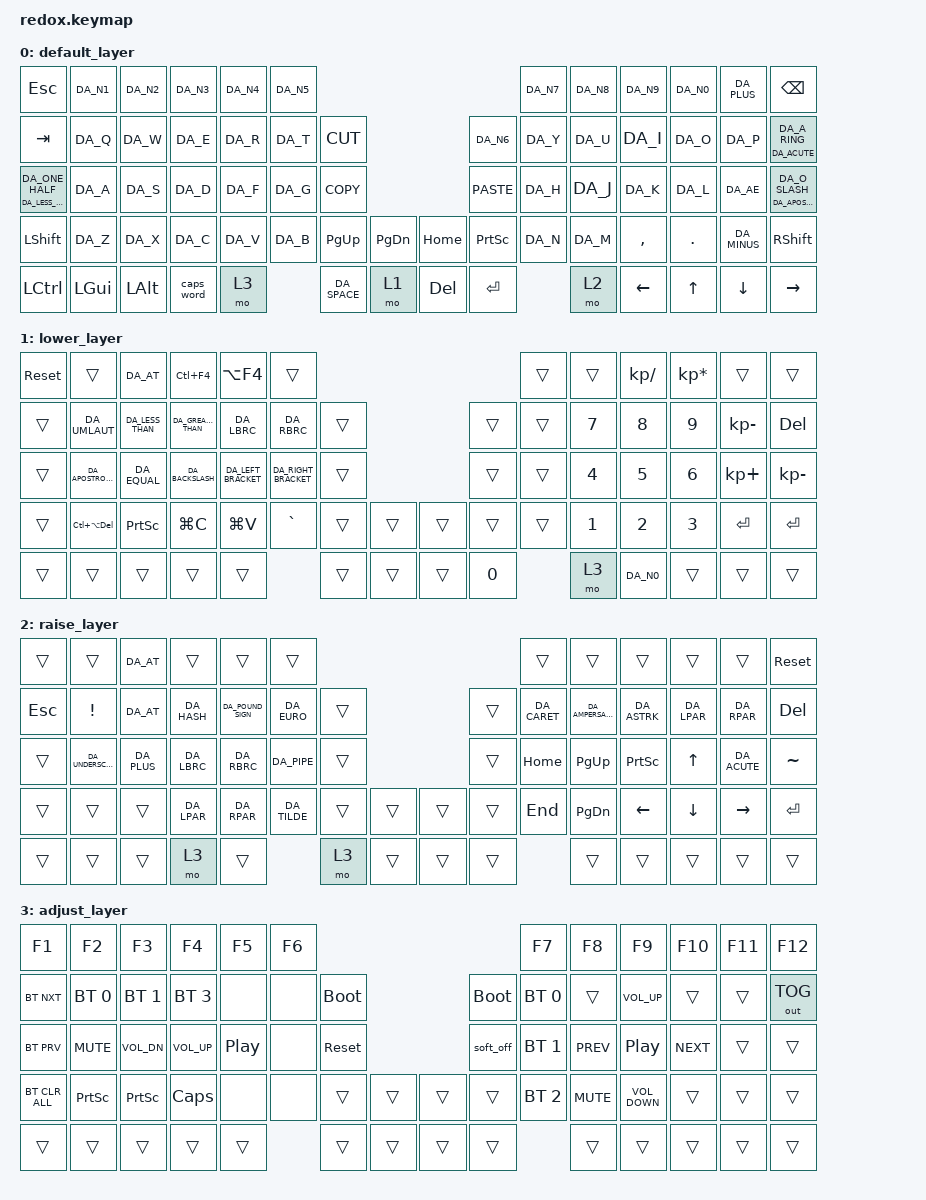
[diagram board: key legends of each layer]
/*
 * Copyright (c) 2021 The ZMK Contributors
 *
 * SPDX-License-Identifier: MIT
 */

#include "keys_da.h"
#include <behaviors.dtsi>
#include <dt-bindings/zmk/bt.h>
#include <dt-bindings/zmk/keys.h>
#include <dt-bindings/zmk/outputs.h>

&mt {
    flavor = "tap-preferred";
    tapping-term-ms = <300>;
};

&soft_off { hold-time-ms = <1000>; };

/ {
    keymap {
        compatible = "zmk,keymap";

        default_layer {
            // --------------------------------------------------------------------------------------------------------------------------------
            // | ESC   |  1  |  2  |   3   |  4  |  5  |                   ---                |  6    |  7    |  8    |  9   | 0  |    BKSP   |
            // | TAB   |  DA_Q  |  DA_W  |   DA_E   |  DA_R  |  DA_T  |   (   |           ---        |  )    |  DA_Y    |  DA_U    |  DA_I    |  DA_O   | DA_P  |     -     |
            // | CTRL  |  DA_A  |  DA_S  |   DA_D   |  DA_F  |  DA_G  |   [   |           ---        |  ]    |  DA_H    |  DA_J    |  DA_K    |  DA_L   | ;  |     '     |
            // | SHIFT |  DA_Z  |  DA_X  |   DA_C   |  DA_V  |  DA_B  | PG_UP | PG_DOWN | --- | HOME | END   |  DA_N    |  DA_M    |  ,    |  .   | /  | SHFT(RET) |
            // | CRTL  | ALT | GUI | LOWER |    GUI    | LOWER | DA_SPACE   | --- | DEL  | DA_SPACE |     RAISE     | LEFT  | DOWN | UP |   RIGHT   |

            bindings = <
&kp ESC                       &kp DA_N1     &kp DA_N2  &kp DA_N3   &kp DA_N4  &kp DA_N5                                                        &kp DA_N7  &kp DA_N8  &kp DA_N9  &kp DA_N0     &kp DA_PLUS     &kp BSPC
&kp TAB                       &kp DA_Q      &kp DA_W   &kp DA_E    &kp DA_R   &kp DA_T   &kp K_CUT                            &kp DA_N6        &kp DA_Y   &kp DA_U   &kp DA_I   &kp DA_O      &kp DA_P        &mt DA_ACUTE DA_A_RING
&mt DA_LESS_THAN DA_ONE_HALF  &kp DA_A      &kp DA_S   &kp DA_D    &kp DA_F   &kp DA_G   &kp K_COPY                           &kp K_PASTE      &kp DA_H   &kp DA_J   &kp DA_K   &kp DA_L      &kp DA_AE       &mt DA_APOSTROPHE DA_O_SLASH
&kp LSHFT                     &kp DA_Z      &kp DA_X   &kp DA_C    &kp DA_V   &kp DA_B   &kp PG_UP     &kp PG_DN    &kp HOME  &kp PRINTSCREEN  &kp DA_N   &kp DA_M   &kp COMMA  &kp DOT       &kp DA_MINUS    &kp RSHFT
&kp LCTRL                     &kp LEFT_GUI  &kp LALT   &caps_word  &mo 3                 &kp DA_SPACE  &mo 1        &kp DEL   &kp ENTER                   &mo 2      &kp LEFT   &kp UP_ARROW  &kp DOWN_ARROW  &kp RIGHT
            >;
        };

        lower_layer {
            // --------------------------------------------------------------------------------------------------------------------------
            // | ESC   |  1  |  2  |   3   |   4   |  5  |                   ---              |  6  |  7  |   8  |  9   |  0  |  DEL  |
            // | ESC   |  1  |  2  |   3   |   4   |  5  |   (   |           ---        |  )  |  6  |  7  |   8  |  9   |  0  |  DEL  |
            // | CTRL  |  -  |  =  |   [   |   ]   |  \  |   [   |           ---        |  ]  |  *  |  4  |   5  |  6   |  +  |   -   |
            // | SHIFT | ESC | GUI | COPY  | PASTE |     | PG_UP | PG_DOWN | --- | HOME | END |  \  |  1  |   2  |  3   | RET |  RET  |
            // | CRTL  | ALT | GUI | LOWER |     GUI     | LOWER | DA_SPACE   | --- | DEL  |  0  |    RAISE  | LEFT | DOWN | UP  | RIGHT |

            bindings = <
&sys_reset  &trans              &kp DA_AT         &kp LC(F4)           &kp LA(F4)           &trans                                                  &trans  &trans  &kp KP_SLASH  &kp KP_MULTIPLY  &trans           &trans
&trans      &kp DA_UMLAUT       &kp DA_LESS_THAN  &kp DA_GREATER_THAN  &kp DA_LBRC          &kp DA_RBRC           &trans                    &trans  &trans  &kp N7  &kp N8        &kp N9           &kp KP_SUBTRACT  &kp DEL
&trans      &kp DA_APOSTROPHE   &kp DA_EQUAL      &kp DA_BACKSLASH     &kp DA_LEFT_BRACKET  &kp DA_RIGHT_BRACKET  &trans                    &trans  &trans  &kp N4  &kp N5        &kp N6           &kp KP_PLUS      &kp KP_MINUS
&trans      &kp LC(LA(DELETE))  &kp PRINTSCREEN   &kp LG(C)            &kp LG(V)            &kp GRAVE             &trans  &trans    &trans  &trans  &trans  &kp N1  &kp N2        &kp N3           &kp RET          &kp RET
&trans      &trans              &trans            &trans               &trans                                     &trans  &trans    &trans  &kp N0          &mo 3   &kp DA_N0     &trans           &trans           &trans
            >;
        };

        raise_layer {
            // ----------------------------------------------------------------------------------------------------------------------------
            // | ESC   |  1  |  2  |   3   |  4  |  5  |                   ---                |  6   |  7   |  8   |  9   |  0    |  DEL  |
            // | ESC   |  !  |  @  |   #   |  $  |  %  |   (   |           ---        |  )    |  ^   |  &   |  *   |  (   |  )    |  DEL  |
            // | CTRL  |  _  |  +  |   {   |  }  | "|" |   [   |           ---        |  ]    | HOME | PGUP | PRSC | UP   |  `    |   ~   |
            // | SHIFT | ESC | GUI |   (   |  )  |     | PG_UP | PG_DOWN | --- | HOME | END   | END  | PGDN | LEFT | DOWN | RIGHT |  RET  |
            // | CRTL  | ALT | GUI | LOWER |    GUI    | LOWER | DA_SPACE   | --- | DEL  | DA_SPACE |    RAISE    | LEFT | DOWN | UP    | RIGHT |

            bindings = <
&trans   &trans             &kp DA_AT    &trans       &trans             &trans                                          &trans        &trans            &trans        &trans       &trans        &sys_reset
&kp ESC  &kp EXCL           &kp DA_AT    &kp DA_HASH  &kp DA_POUND_SIGN  &kp DA_EURO   &trans                    &trans  &kp DA_CARET  &kp DA_AMPERSAND  &kp DA_ASTRK  &kp DA_LPAR  &kp DA_RPAR   &kp DEL
&trans   &kp DA_UNDERSCORE  &kp DA_PLUS  &kp DA_LBRC  &kp DA_RBRC        &kp DA_PIPE   &trans                    &trans  &kp HOME      &kp PG_UP         &kp PSCRN     &kp UP       &kp DA_ACUTE  &kp TILDE
&trans   &trans             &trans       &kp DA_LPAR  &kp DA_RPAR        &kp DA_TILDE  &trans  &trans    &trans  &trans  &kp END       &kp PG_DN         &kp LEFT      &kp DOWN     &kp RIGHT     &kp RET
&trans   &trans             &trans       &mo 3        &trans                           &mo 3   &trans    &trans  &trans                &trans            &trans        &trans       &trans        &trans
            >;
        };

        adjust_layer {
            // -----------------------------------------------------------------------------------------
            // |  F1   |  F2   |    F3    |    F4     |     F5     | F6 |                   ---                | F7  | F8  |  F9  |  F10 | F11 | F12        |
            // | TAB   |       |          |           |            |    | BOOTL |           ---        |  )    | BT1 | BT2 |  BT3 |  BT4 | BT5 | OUTPUT TGL |
            // | CTRL  | MUTE  |  Vol Dn  |  Vol Up   | Play/Pause |    | RESET |           ---        |  ]    | F1  | F2  |  F3  |  F4  | F5  | F6         |
            // | SHIFT | PSCRN |  PSCRN   |   CAPS    |            |    | PG_UP | PG_DOWN | --- | HOME | END   | F7  | F8  |  F9  |  F10 | F11 | F12        |
            // | CRTL  | ALT   |  GUI     |   LOWER   |      GUI        | LOWER | DA_SPACE   | --- | DEL  | DA_SPACE |   RAISE   | LEFT | DOWN | UP  |   RIGHT    |

            bindings = <
&kp F1          &kp F2        &kp F3        &kp F4        &kp F5            &kp F6                                              &kp F7        &kp F8      &kp F9             &kp F10     &kp F11  &kp F12
&bt BT_NXT      &bt BT_SEL 0  &bt BT_SEL 1  &bt BT_SEL 3  &none             &none   &bootloader                    &bootloader  &bt BT_SEL 0  &trans      &kp C_VOL_UP       &trans      &trans   &out OUT_TOG
&bt BT_PRV      &kp K_MUTE    &kp C_VOL_DN  &kp C_VOL_UP  &kp C_PLAY_PAUSE  &none   &sys_reset                     &soft_off    &bt BT_SEL 1  &kp C_PREV  &kp C_PLAY_PAUSE   &kp C_NEXT  &trans   &trans
&bt BT_CLR_ALL  &kp PSCRN     &kp PSCRN     &kp CLCK      &none             &none   &trans       &trans    &trans  &trans       &bt BT_SEL 2  &kp K_MUTE  &kp C_VOLUME_DOWN  &trans      &trans   &trans
&trans          &trans        &trans        &trans        &trans                    &trans       &trans    &trans  &trans                     &trans      &trans             &trans      &trans   &trans
            >;
        };
    };
};
